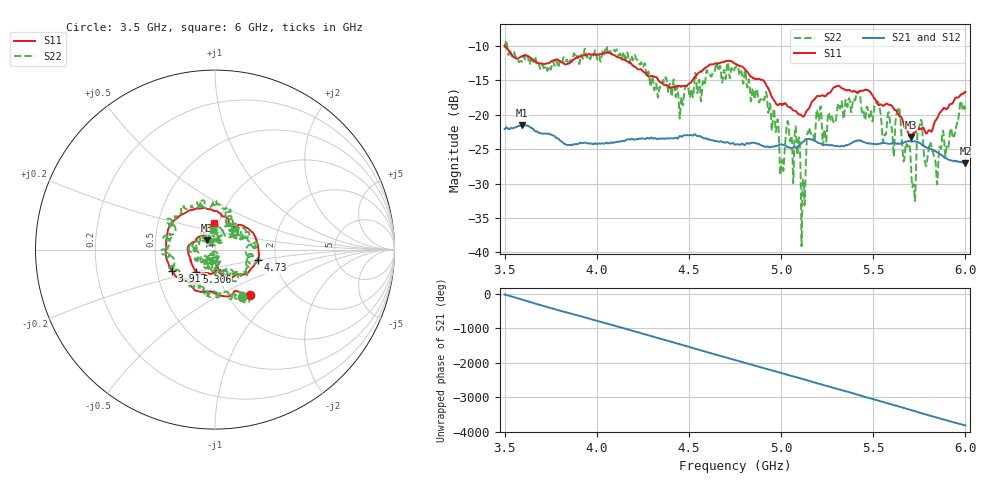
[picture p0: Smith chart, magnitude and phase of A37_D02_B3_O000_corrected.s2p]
! Created with skrf 1.9.0 (http://scikit-rf.org).
# Hz S RI R 50.0
!freq ReS11 ImS11 ReS21 ImS21 ReS12 ImS12 ReS22 ImS22
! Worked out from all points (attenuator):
!   1601 points, 3.5 GHz to 6 GHz, reference 50 ohm
!   highest |S21| = -21.49 dB at 3.592 GHz (marker M1); lowest = -27.0 dB at 6 GHz (marker M2)
!   lowest |S11| = -23.2 dB at 5.703 GHz (marker M3), VSWR 1.15, Z = 45.4 + j4.68 ohm
!   |S11| at or under -10 dB: 3.503 GHz to end of sweep
!   |S22| runs from -39.1 to -9.2 dB; largest |S21 - S12| = 0.00095
!   S11 on the Smith chart (normalised r, x): 3.5 GHz: 1.26, -0.71; 3.917 GHz: 0.60, -0.15; 4.73 GHz: 1.61, -0.20; 5.306 GHz: 0.79, -0.20; 6 GHz: 0.94, +0.28
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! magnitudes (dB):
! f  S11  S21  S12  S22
! 3.5 GHz  -9.9  -22.1  -22.1  -10.3
! 3.592 GHz  -11.5  -21.5  -21.5  -12.2
! 3.917 GHz  -11.5  -24.1  -24.1  -11.2
! 4.213 GHz  -13.1  -23.5  -23.5  -11.8
! 4.334 GHz  -15.0  -23.5  -23.4  -17.2
! 4.73 GHz  -12.2  -24.2  -24.1  -13.2
! 4.75 GHz  -12.6  -24.3  -24.3  -13.1
! 4.928 GHz  -16.0  -24.6  -24.6  -19.3
! 5.005 GHz  -18.5  -24.3  -24.3  -26.5
! 5.033 GHz  -18.6  -24.7  -24.6  -21.2
! 5.088 GHz  -19.7  -24.7  -24.6  -25.8
! 5.119 GHz  -20.2  -23.9  -23.9  -29.4
! 5.147 GHz  -19.2  -23.5  -23.5  -22.5
! 5.167 GHz  -18.1  -23.6  -23.6  -22.9
! 5.306 GHz  -15.8  -24.6  -24.5  -18.8
! 5.584 GHz  -18.5  -24.2  -24.2  -19.6
! 5.638 GHz  -20.0  -24.2  -24.1  -18.9
! 5.703 GHz  -23.2  -23.9  -23.9  -26.5
! 5.72 GHz  -22.6  -23.9  -23.8  -30.2
! 5.753 GHz  -22.1  -24.1  -24.1  -21.4
! 5.844 GHz  -20.6  -25.4  -25.3  -29.5
! 6 GHz  -16.7  -27.0  -27.0  -19.3
